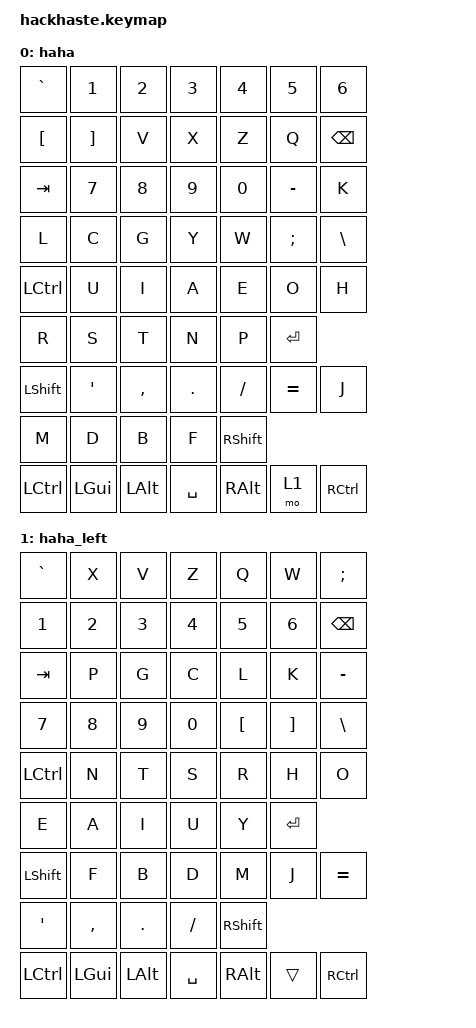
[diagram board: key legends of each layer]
/* HackHaste. Bindings in standard ANSI key order.
 * Retarget the &kp list to the shield's keymap node if the matrix differs.
 */
#include <behaviors.dtsi>
#include <dt-bindings/zmk/keys.h>

/ {
    keymap {
        compatible = "zmk,keymap";
        haha {
            bindings = <
                &kp GRAVE  &kp N1    &kp N2    &kp N3    &kp N4    &kp N5    &kp N6
                &kp LBKT   &kp RBKT  &kp V     &kp X     &kp Z     &kp Q     &kp BSPC
                &kp TAB    &kp N7    &kp N8    &kp N9    &kp N0    &kp MINUS &kp K
                &kp L      &kp C     &kp G     &kp Y     &kp W     &kp SEMI  &kp BSLH
                &kp LCTRL  &kp U     &kp I     &kp A     &kp E     &kp O     &kp H
                &kp R      &kp S     &kp T     &kp N     &kp P     &kp RET
                &kp LSHIFT &kp SQT   &kp COMMA &kp DOT   &kp FSLH  &kp EQUAL &kp J
                &kp M      &kp D     &kp B     &kp F     &kp RSHIFT
                &kp LCTRL  &kp LGUI  &kp LALT  &kp SPACE &kp RALT  &mo 1 &kp RCTRL
            >;
        };
        haha_left {
            bindings = <
                &kp GRAVE  &kp X     &kp V     &kp Z     &kp Q     &kp W     &kp SEMI
                &kp N1     &kp N2    &kp N3    &kp N4    &kp N5    &kp N6    &kp BSPC
                &kp TAB    &kp P     &kp G     &kp C     &kp L     &kp K     &kp MINUS
                &kp N7     &kp N8    &kp N9    &kp N0    &kp LBKT  &kp RBKT  &kp BSLH
                &kp LCTRL  &kp N     &kp T     &kp S     &kp R     &kp H     &kp O
                &kp E      &kp A     &kp I     &kp U     &kp Y     &kp RET
                &kp LSHIFT &kp F     &kp B     &kp D     &kp M     &kp J     &kp EQUAL
                &kp SQT    &kp COMMA &kp DOT   &kp FSLH  &kp RSHIFT
                &kp LCTRL  &kp LGUI  &kp LALT  &kp SPACE &kp RALT  &trans &kp RCTRL
            >;
        };
    };
};
